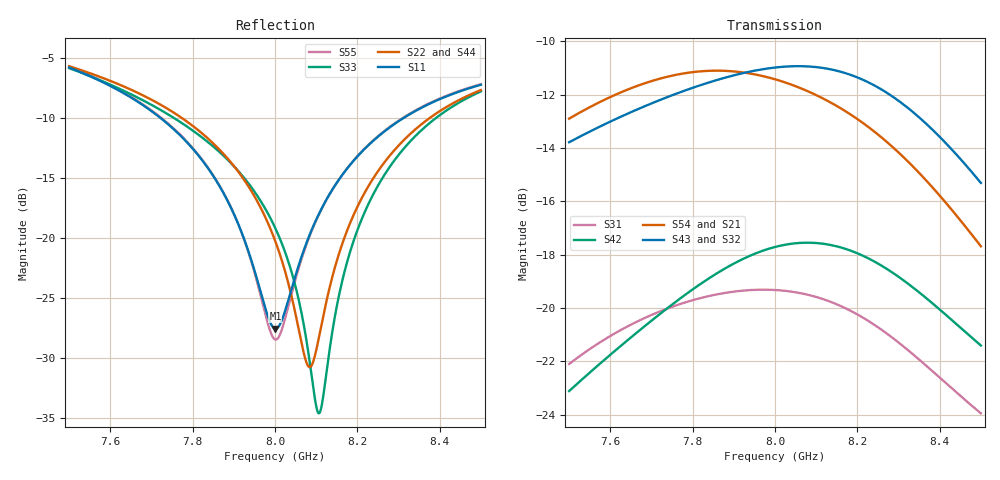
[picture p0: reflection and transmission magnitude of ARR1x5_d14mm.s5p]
! Touchstone file exported from HFSS 2025.1.0
!  File:  C:/Users/user/Documents/Ansoft/TFG_UWB-MIMO-Array.aedt
!  Generated:  06:37:32 PM Nov 20, 2026
!  Design:  ARR1x5_P01_MS2_dparam
!  Project:  TFG_UWB-MIMO-Array
!  Setup:  Setup_ch9
!  Solution:  Sweep_7p5_8p5
! Variables:
!  arr_d = 14mm
!  board_m = 13mm
!  board_x = 82mm
!  board_y = 26mm
!  cu_t = 0.035mm
!  line_w = 3.92mm
!  pad_xy = 22mm
!  pad_zn = 25mm
!  pad_zp = 33mm
!  patch_L = 7.322mm
!  patch_W = 11.421266mm
!  sub_h = 2.07mm
!  tr_l = 7.1mm
!  tr_w = 0.8mm
# GHz S MA R 50.000000
! Terminal data exported
! Port[1] = P1
! Port[2] = P2
! Port[3] = P3
! Port[4] = P4
! Port[5] = P5
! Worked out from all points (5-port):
!   1001 points, 7.5 GHz to 8.5 GHz, reference 50 ohm
!   strongest paths, dB at 7.5 GHz, 7.75 GHz, 8 GHz, 8.25 GHz, 8.5 GHz:
!     S43: -13.8, -12.0, -11.0, -11.7, -15.3
!     S32: -13.8, -12.0, -11.0, -11.7, -15.3
!     S54: -12.9, -11.3, -11.4, -13.5, -17.7
!     S21: -12.9, -11.3, -11.5, -13.5, -17.7
!     S42: -23.1, -19.9, -17.7, -18.3, -21.4
!     S31: -22.1, -20.0, -19.3, -20.7, -23.9
!   lowest |S11| = -27.6 dB at 8.001 GHz (marker M1), VSWR 1.09, Z = 53.9 + j1.83 ohm
!   |S11| at or under -10 dB: 7.722 GHz to 8.312 GHz (589.7 MHz wide, 7.36 % of centre)
